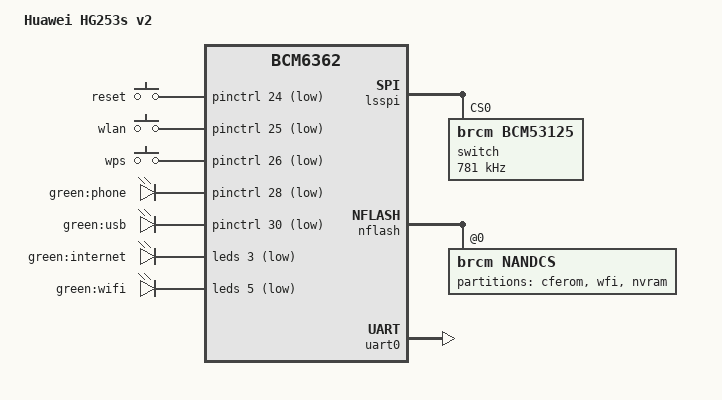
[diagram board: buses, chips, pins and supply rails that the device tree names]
#include "bcm6362.dtsi"

#include <dt-bindings/input/input.h>

/ {
	model = "Huawei HG253s v2";
	compatible = "huawei,hg253s-v2", "brcm,bcm6362";

	aliases {
		led-boot = &led_phone_green;
		led-failsafe = &led_phone_green;
		led-upgrade = &led_phone_green;
	};

	chosen {
		bootargs = "rootfstype=squashfs,ubifs noinitrd console=ttyS0,115200";
		stdout-path = "serial0:115200n8";
	};

	keys {
		compatible = "gpio-keys-polled";
		#address-cells = <1>;
		#size-cells = <0>;
		poll-interval = <20>;

		reset {
			label = "reset";
			gpios = <&pinctrl 24 1>;
			linux,code = <KEY_RESTART>;
			debounce-interval = <60>;
		};

		wlan {
			label = "wlan";
			gpios = <&pinctrl 25 1>;
			linux,code = <KEY_WLAN>;
			debounce-interval = <60>;
		};

		wps {
			label = "wps";
			gpios = <&pinctrl 26 1>;
			linux,code = <KEY_WPS_BUTTON>;
			debounce-interval = <60>;
		};
	};

	leds {
		compatible = "gpio-leds";

		led_phone_green: led@28 {
			label = "green:phone";
			gpios = <&pinctrl 28 1>;
		};

		led@30 {
			label = "green:usb";
			gpios = <&pinctrl 30 1>;
		};
	};
};

&leds {
	status = "okay";

	pinctrl-names = "default";
	pinctrl-0 = <&pinctrl_leds>;

	led@3 {
		reg = <3>;
		active-low;
		label = "green:internet";
	};

	led@5 {
		reg = <5>;
		active-low;
		label = "green:wifi";
	};
};

&lsspi {
	switch@0 {
		compatible = "brcm,bcm53125";
		reg = <0>;
		spi-max-frequency = <781000>;

		lede,alias = "eth0";

		ports {
			#address-cells = <1>;
			#size-cells = <0>;

			lan@1 {
				reg = <1>;
				label = "lan4";
			};

			lan@2 {
				reg = <2>;
				label = "lan3";
			};

			lan@3 {
				reg = <3>;
				label = "lan2";
			};

			lan@4 {
				reg = <4>;
				label = "lan1";
			};

			cpu@8 {
				reg = <8>;
				label = "cpu";

				fixed-link {
					speed = <1000>;
					full-duplex;
					asym-pause;
					pause;
				};
			};
		};
	};
};

&nflash {
	status = "okay";

	nandcs@0 {
		compatible = "brcm,nandcs";
		#size-cells = <1>;
		#address-cells = <1>;
		reg = <0>;
		nand-ecc-step-size = <512>;
		nand-ecc-strength = <15>;
		nand-on-flash-bbt;
		brcm,nand-oob-sector-size = <64>;

		partitions {
			compatible = "fixed-partitions";
			#address-cells = <1>;
			#size-cells = <1>;

			partition@0 {
				label = "cferom";
				reg = <0x0000000 0x0020000>;
				read-only;
			};

			partition@20000 {
				compatible = "brcm,wfi";
				label = "wfi";
				reg = <0x0020000 0x7d80000>;
			};

			partition@7da0000 {
				label = "nvram";
				reg = <0x7da0000 0x160000>;
			};
		};
	};
};

&pinctrl {
	pinctrl_leds: leds {
		function = "led";
		pins = "gpio3", "gpio5";
	};
};

&uart0 {
	status = "okay";
};
